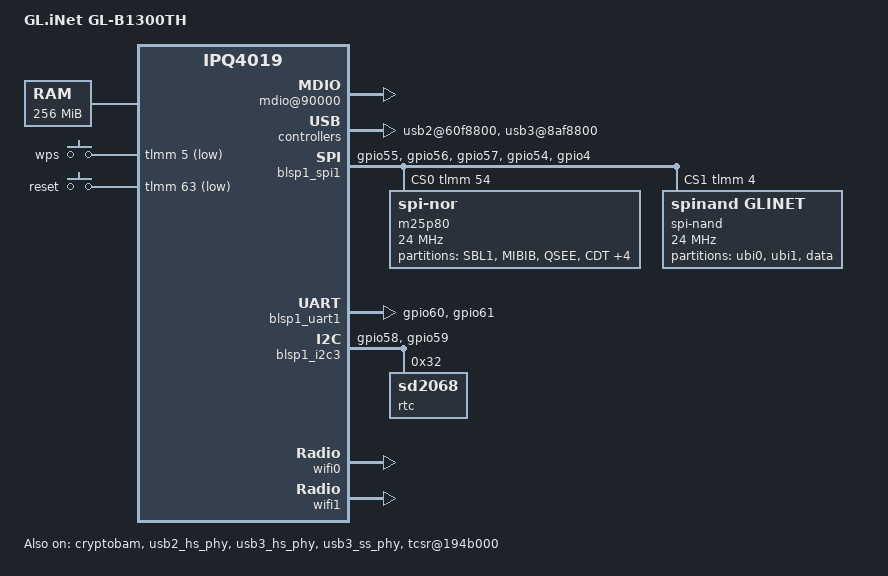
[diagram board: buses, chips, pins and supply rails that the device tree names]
/* Copyright (c) 2015, The Linux Foundation. All rights reserved.
 *
 * Permission to use, copy, modify, and/or distribute this software for any
 * purpose with or without fee is hereby granted, provided that the above
 * copyright notice and this permission notice appear in all copies.
 *
 * THE SOFTWARE IS PROVIDED "AS IS" AND THE AUTHOR DISCLAIMS ALL WARRANTIES
 * WITH REGARD TO THIS SOFTWARE INCLUDING ALL IMPLIED WARRANTIES OF
 * MERCHANTABILITY AND FITNESS. IN NO EVENT SHALL THE AUTHOR BE LIABLE FOR
 * ANY SPECIAL, DIRECT, INDIRECT, OR CONSEQUENTIAL DAMAGES OR ANY DAMAGES
 * WHATSOEVER RESULTING FROM LOSS OF USE, DATA OR PROFITS, WHETHER IN AN
 * ACTION OF CONTRACT, NEGLIGENCE OR OTHER TORTIOUS ACTION, ARISING OUT OF
 * OR IN CONNECTION WITH THE USE OR PERFORMANCE OF THIS SOFTWARE.
 *
 */

#include "qcom-ipq4019.dtsi"
#include <dt-bindings/gpio/gpio.h>
#include <dt-bindings/input/input.h>
#include <dt-bindings/soc/qcom,tcsr.h>

/ {
	model = "GL.iNet GL-B1300TH";
	compatible = "glinet,gl-b1300th", "qcom,ipq4019";

	gl_hw {
		compatible = "gl-hw-info";

		#address-cells = <1>;
		#size-cells = <1>;
		model = "b1300th";
		wan = "eth0";
		lan = "eth1";
		reset-button = "gpio-63";
		factory_data {
			device_mac = <&art 0>;
			device_ddns = <&art 0x10>;
			device_sn_bak = <&art 0x20>;
			device_sn = <&art 0x30>;
		};
 	};

	memory {
		device_type = "memory";
		reg = <0x80000000 0x10000000>;
	};

	chosen {
		bootargs-append = " ubi.mtd=ubi root=/dev/ubiblock0_1 clk_ignore_unused";
	};

	soc {
		mdio@90000 {
			status = "okay";
		};

		ess-psgmii@98000 {
			status = "okay";
		};

		tcsr@1949000 {
			compatible = "qcom,tcsr";
			reg = <0x1949000 0x100>;
			qcom,wifi_glb_cfg = <TCSR_WIFI_GLB_CFG>;
		};

		tcsr@194b000 {
			/* select hostmode */
			compatible = "qcom,tcsr";
			reg = <0x194b000 0x100>;
			qcom,usb-hsphy-mode-select = <TCSR_USB_HSPHY_HOST_MODE>;
			status = "okay";
		};

		ess_tcsr@1953000 {
			compatible = "qcom,tcsr";
			reg = <0x1953000 0x1000>;
			qcom,ess-interface-select = <TCSR_ESS_PSGMII>;
		};

		tcsr@1957000 {
			compatible = "qcom,tcsr";
			reg = <0x1957000 0x100>;
			qcom,wifi_noc_memtype_m0_m2 = <TCSR_WIFI_NOC_MEMTYPE_M0_M2>;
		};

		usb2@60f8800 {
			status = "okay";
		};

		usb3@8af8800 {
			status = "okay";
		};

		crypto@8e3a000 {
			status = "okay";
		};

		watchdog@b017000 {
			status = "okay";
		};

		ess-switch@c000000 {
			status = "okay";
			switch_lan_bmp = <0x18>;
			switch_wan_bmp = <0x20>;
		};

		edma@c080000 {
			status = "okay";
		};
	};

	keys {
		compatible = "gpio-keys";

		wps {
			label = "wps";
			gpios = <&tlmm 5 GPIO_ACTIVE_LOW>;
			linux,code = <KEY_WPS_BUTTON>;
		};

		reset {
			label = "reset";
			gpios = <&tlmm 63 GPIO_ACTIVE_LOW>;
			linux,code = <KEY_RESTART>;
		};
	};

	leds {
		compatible = "gpio-leds";
	};

};

&blsp_dma {
	status = "okay";
};

&cryptobam {
	status = "okay";
};

&blsp1_spi1 {
	pinctrl-0 = <&spi_0_pins>;
	pinctrl-names = "default";
	cs-gpios = <&tlmm 54 GPIO_ACTIVE_HIGH>, <&tlmm 4 GPIO_ACTIVE_HIGH>;
	status = "okay";

	m25p80@0 {
		#address-cells = <1>;
		#size-cells = <0>;
		reg = <0>;
		compatible = "jedec,spi-nor";
		spi-max-frequency = <24000000>;

		partitions {
			compatible = "fixed-partitions";
			#address-cells = <1>;
			#size-cells = <1>;

			partition0@0 {
				label = "SBL1";
				reg = <0x00000000 0x00040000>;
				read-only;
			};
			partition1@40000 {
				label = "MIBIB";
				reg = <0x00040000 0x00020000>;
				read-only;
			};
			partition2@60000 {
				label = "QSEE";
				reg = <0x00060000 0x00060000>;
				read-only;
			};
			partition3@c0000 {
				label = "CDT";
				reg = <0x000c0000 0x00010000>;
				read-only;
			};
			partition4@d0000 {
				label = "DDRPARAMS";
				reg = <0x000d0000 0x00010000>;
				read-only;
			};
			partition5@e0000 {
				label = "APPSBLENV"; /* uboot env*/
				reg = <0x000e0000 0x00010000>;
			};
			partition5@f0000 {
				label = "APPSBL"; /* uboot */
				reg = <0x000f0000 0x00080000>;
				read-only;
			};
            art: partition5@170000 {
				label = "ART";
				reg = <0x00170000 0x00010000>;
				read-only;
			};
		};
	};

	spi-nand@1 {
		status = "okay";

		compatible = "spinand,glinet";
		reg = <1>;
		spi-max-frequency = <24000000>;

		partitions {
			compatible = "fixed-partitions";
			#address-cells = <1>;
			#size-cells = <1>;

			partition@0 {
				label = "ubi0";
				reg = <0x00000000 0x08000000>;
			};
			partition@08000000 {
				label = "ubi1";
				reg = <0x08000000 0x08000000>;
			};
			partition@10000000 {
				label = "data";
				reg = <0x10000000 0x10000000>;
			};
		};
	};
};

&blsp1_uart1 {
	pinctrl-0 = <&serial_pins>;
	pinctrl-names = "default";
	status = "okay";
};

&tlmm {
	serial_pins: serial_pinmux {
		mux {
			pins = "gpio60", "gpio61";
			function = "blsp_uart0";
			bias-disable;
		};
	};

	i2c_0_pins: i2c_0_pinmux {
		pinmux {
			function = "blsp_i2c0";
			pins = "gpio58", "gpio59";
		};
		pinconf {
			pins = "gpio58", "gpio59";
			drive-strength = <16>;
			bias-pull-up;
		};
    };

    thd_pins: thd_pins {
		thd_ret_dfu {
			function = "gpio";
			pins = "gpio0", "gpio1";
			drive-strength = <2>;
			bias-pull-up;
        };
    };

	spi_0_pins: spi_0_pinmux {
		pin {
			function = "blsp_spi0";
			pins = "gpio55", "gpio56", "gpio57";
			drive-strength = <2>;
			bias-disable;
		};
		pin_cs {
			function = "gpio";
			pins = "gpio54", "gpio4";
			drive-strength = <2>;
			bias-disable;
			output-high;
		};
	};
};

&blsp1_i2c3 {
	status = "okay";
    pinctrl-0 = <&i2c_0_pins>;
    pinctrl-names = "default";

    rtc@32 {
            compatible = "sd2068";
            reg = <0x32>;
    };
};

&usb2_hs_phy {
	status = "okay";
};

&usb3_hs_phy {
	status = "okay";
};

&usb3_ss_phy {
	status = "okay";
};

&wifi0 {
	status = "okay";
	qcom,ath10k-calibration-variant = "GL-B1300";
};

&wifi1 {
	status = "okay";
	qcom,ath10k-calibration-variant = "GL-B1300";
};
